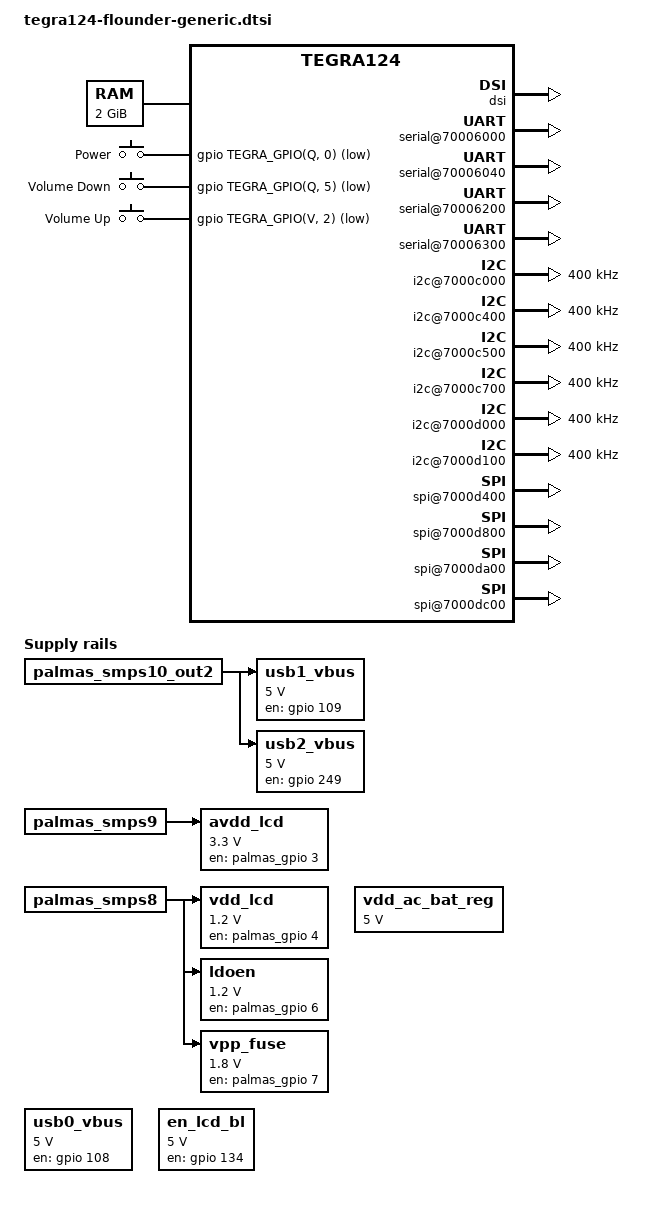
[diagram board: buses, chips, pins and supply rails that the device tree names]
#include "tegra124.dtsi"

/ {
	gpio: gpio@6000d000 {
		gpio-init-names = "default";
		gpio-init-0 = <&gpio_default>;

		gpio_default: default {
			gpio-input = <  TEGRA_GPIO(C, 7)
					TEGRA_GPIO(G, 2)
					TEGRA_GPIO(G, 3)
					TEGRA_GPIO(H, 4)
					TEGRA_GPIO(I, 5)
					TEGRA_GPIO(I, 6)
					TEGRA_GPIO(J, 0)
					TEGRA_GPIO(K, 2)
					TEGRA_GPIO(K, 3)
					TEGRA_GPIO(N, 7)
					TEGRA_GPIO(O, 2)
					TEGRA_GPIO(O, 3)
					TEGRA_GPIO(O, 5)
					TEGRA_GPIO(O, 7)
					TEGRA_GPIO(Q, 1)
					TEGRA_GPIO(Q, 6)
					TEGRA_GPIO(Q, 7)
					TEGRA_GPIO(R, 4)
					TEGRA_GPIO(S, 0)
					TEGRA_GPIO(S, 1)
					TEGRA_GPIO(S, 4)
					TEGRA_GPIO(U, 2)
					TEGRA_GPIO(U, 5)
					TEGRA_GPIO(U, 6)
					TEGRA_GPIO(V, 0)
					TEGRA_GPIO(V, 1)
					TEGRA_GPIO(W, 2)
/*key*/
					TEGRA_GPIO(Q, 0)
					TEGRA_GPIO(Q, 5)
					TEGRA_GPIO(V, 2)
/*key*/
/*headset*/
					TEGRA_GPIO(S, 2)
					TEGRA_GPIO(W, 3)
					TEGRA_GPIO(B, 0)
/*headset*/
					TEGRA_GPIO(BB, 6)
					TEGRA_GPIO(BB, 7)
					TEGRA_GPIO(CC, 1)
					TEGRA_GPIO(CC, 2)>;
			gpio-output-low = <TEGRA_GPIO(G, 0)
					TEGRA_GPIO(G, 1)
					TEGRA_GPIO(H, 2)
					TEGRA_GPIO(H, 3)
					TEGRA_GPIO(H, 5)
					TEGRA_GPIO(H, 6)
					TEGRA_GPIO(H, 7)
					TEGRA_GPIO(I, 0)
/*key*/
					TEGRA_GPIO(I, 3)
/*key*/
					TEGRA_GPIO(I, 4)
/*headset*/
					TEGRA_GPIO(J, 7)
					TEGRA_GPIO(S, 3)
/*headset*/
					TEGRA_GPIO(K, 0)
					TEGRA_GPIO(K, 1)
					TEGRA_GPIO(K, 5)
					TEGRA_GPIO(O, 0)
					TEGRA_GPIO(O, 6)
					TEGRA_GPIO(Q, 3)
					TEGRA_GPIO(R, 1)
					TEGRA_GPIO(R, 2)
					TEGRA_GPIO(R, 5)
					TEGRA_GPIO(S, 3)
					TEGRA_GPIO(S, 6)
					TEGRA_GPIO(U, 3)
					TEGRA_GPIO(V, 3)
					TEGRA_GPIO(X, 1)
					TEGRA_GPIO(X, 3)
					TEGRA_GPIO(X, 4)
					TEGRA_GPIO(X, 5)
					TEGRA_GPIO(X, 7)
					TEGRA_GPIO(BB, 3)
					TEGRA_GPIO(BB, 5)
					TEGRA_GPIO(CC, 5)
					TEGRA_GPIO(EE, 1)>;
			gpio-output-high = <TEGRA_GPIO(B, 4)
					TEGRA_GPIO(I, 2)
					TEGRA_GPIO(K, 4)
					TEGRA_GPIO(S, 5)
					TEGRA_GPIO(R, 0)
					TEGRA_GPIO(R, 3)
					TEGRA_GPIO(X, 2)
					TEGRA_GPIO(Q, 2)
/*headset*/
					TEGRA_GPIO(Q, 4)
/*headset*/
					TEGRA_GPIO(EE, 5)>;
		};
	};

        host1x {
                dsi {
                        nvidia,dsi-controller-vs = <1>;
                        status = "okay";
                };
        };

	serial@70006000 {
		compatible = "nvidia,tegra114-hsuart";
		status = "okay";
	};

	serial@70006040 {
		compatible = "nvidia,tegra114-hsuart";
		status = "okay";
	};

	serial@70006200 {
		compatible = "nvidia,tegra114-hsuart";
		status = "okay";
	};

	serial@70006300 {
		compatible = "nvidia,tegra114-hsuart";
		status = "okay";
	};

	memory@0x80000000 {
		device_type = "memory";
		reg = <0x80000000 0x80000000>;
	};

	i2c@7000c000 {
		status = "okay";
		clock-frequency = <400000>;
	};

	i2c@7000c400 {
		status = "okay";
		clock-frequency = <400000>;
	};

	i2c@7000c500 {
		status = "okay";
		clock-frequency = <400000>;
	};

	i2c@7000c700 {
		status = "okay";
		clock-frequency = <400000>;
	};

	i2c@7000d000 {
		status = "okay";
		clock-frequency = <400000>;
		nvidia,bit-banging-xfer-after-shutdown;

	/include/ "tegra124-flounder-power.dtsi"
	};

	i2c@7000d100 {
		status = "okay";
		clock-frequency = <400000>;
	};

	spi@7000d400 {
		status = "okay";
		spi-max-frequency = <25000000>;
	};

	spi@7000d800 {
		status = "okay";
		spi-max-frequency = <25000000>;
	};

	spi@7000da00 {
		status = "okay";
		spi-max-frequency = <25000000>;
	};

	spi@7000dc00 {
		status = "okay";
		spi-max-frequency = <25000000>;
	};

	gpio-keys {
		compatible = "gpio-keys";

		power {
			label = "Power";
			gpios = <&gpio TEGRA_GPIO(Q, 0) GPIO_ACTIVE_LOW>;
			linux,code = <KEY_POWER>;
			gpio-key,wakeup;
			debounce-interval = <20>;
		};

		volume_down {
			label = "Volume Down";
			gpios = <&gpio TEGRA_GPIO(Q, 5) GPIO_ACTIVE_LOW>;
			linux,code = <KEY_VOLUMEDOWN>;
			debounce-interval = <20>;
		};

		volume_up {
			label = "Volume Up";
			gpios = <&gpio TEGRA_GPIO(V, 2) GPIO_ACTIVE_LOW>;
			linux,code = <KEY_VOLUMEUP>;
			debounce-interval = <20>;
		};
	};

	regulators {
		compatible = "simple-bus";
		#address-cells = <1>;
		#size-cells = <0>;

		vdd_ac_bat_reg: regulator@0 {
			compatible = "regulator-fixed";
			reg = <0>;
			regulator-name = "vdd_ac_bat";
			regulator-min-microvolt = <5000000>;
			regulator-max-microvolt = <5000000>;
			regulator-always-on;

			consumers {
				c1 {
					regulator-consumer-supply = "vdd_sys_bl";
				};
			};
		};

		usb0_vbus: regulator@1 {
			compatible = "regulator-fixed-sync";
			reg = <1>;
			regulator-name = "usb0-vbus";
			regulator-min-microvolt = <5000000>;
			regulator-max-microvolt = <5000000>;
			gpio = <&gpio 108 0>; /*  TEGRA_PN4 */
			enable-active-high;
			gpio-open-drain;

			consumers {
				c1 {
					regulator-consumer-supply = "usb_vbus0";
					regulator-consumer-device = "tegra-xhci";
				};
			};
		};

		usb1_vbus: regulator@2 {
			compatible = "regulator-fixed-sync";
			reg = <2>;
			regulator-name = "usb1-vbus";
			regulator-min-microvolt = <5000000>;
			regulator-max-microvolt = <5000000>;
			enable-active-high;
			gpio = <&gpio 109 0>; /* TEGRA_PN5 */
			gpio-open-drain;
			vin-supply = <&palmas_smps10_out2>;

			consumers {
				c1 {
					regulator-consumer-supply = "usb_vbus";
					regulator-consumer-device = "tegra-ehci.1";
				};
				c2 {
					regulator-consumer-supply = "usb_vbus1";
					regulator-consumer-device = "tegra-xhci";
				};
			};
		};

		usb2_vbus: regulator@3 {
			compatible = "regulator-fixed-sync";
			reg = <3>;
			regulator-name = "usb2-vbus";
			regulator-min-microvolt = <5000000>;
			regulator-max-microvolt = <5000000>;
			enable-active-high;
			gpio = <&gpio 249 0>; /* TEGRA_PFF1 */
			gpio-open-drain;
			vin-supply = <&palmas_smps10_out2>;

			consumers {
				c1 {
					regulator-consumer-supply = "usb_vbus";
					regulator-consumer-device = "tegra-ehci.2";
				};
				c2 {
					regulator-consumer-supply = "usb_vbus2";
					regulator-consumer-device = "tegra-xhci";
				};
			};
		};

		avdd_lcd: regulator@4 {
			compatible = "regulator-fixed-sync";
			reg = <4>;
			regulator-name = "avdd-lcd";
			regulator-min-microvolt = <3300000>;
			regulator-max-microvolt = <3300000>;
			gpio = <&palmas_gpio 3 0>;
			enable-active-high;
			vin-supply = <&palmas_smps9>;

			consumers {
				c1 {
					regulator-consumer-supply = "avdd_lcd";
				};
			};
		};

		vdd_lcd: regulator@5 {
			compatible = "regulator-fixed-sync";
			reg = <5>;
			regulator-name = "vdd-lcd";
			regulator-min-microvolt = <1200000>;
			regulator-max-microvolt = <1200000>;
			enable-active-high;
			gpio = <&palmas_gpio 4 0>;
			vin-supply = <&palmas_smps8>;

			consumers {
				c1 {
					regulator-consumer-supply = "vdd_lcd_1v2_s";
				};
			};
		};

		ldoen: regulator@6 {
			compatible = "regulator-fixed-sync";
			reg = <6>;
			regulator-name = "ldoen";
			regulator-min-microvolt = <1200000>;
			regulator-max-microvolt = <1200000>;
			enable-active-high;
			gpio = <&palmas_gpio 6 0>;
			vin-supply = <&palmas_smps8>;

			consumers {
				c1 {
					regulator-consumer-supply = "ldoen";
					regulator-consumer-device = "1-0052";
				};
			};
		};

		vpp_fuse: regulator@7 {
			compatible = "regulator-fixed-sync";
			reg = <7>;
			regulator-name = "vpp-fuse";
			regulator-min-microvolt = <1800000>;
			regulator-max-microvolt = <1800000>;
			enable-active-high;
			gpio = <&palmas_gpio 7 0>;
			vin-supply = <&palmas_smps8>;

			consumers {
				c1 {
					regulator-consumer-supply = "vpp_fuse";
				};
			};
		};

		en_lcd_bl: regulator@8 {
			compatible = "regulator-fixed-sync";
			reg = <8>;
			regulator-name = "en-lcd-bl";
			regulator-min-microvolt = <5000000>;
			regulator-max-microvolt = <5000000>;
			enable-active-high;
			gpio = <&gpio 134 0>; /* TEGRA_PQ6 */

			consumers {
				c1 {
					regulator-consumer-supply = "vdd_lcd_bl_en";
				};
			};
		};
	};

};
